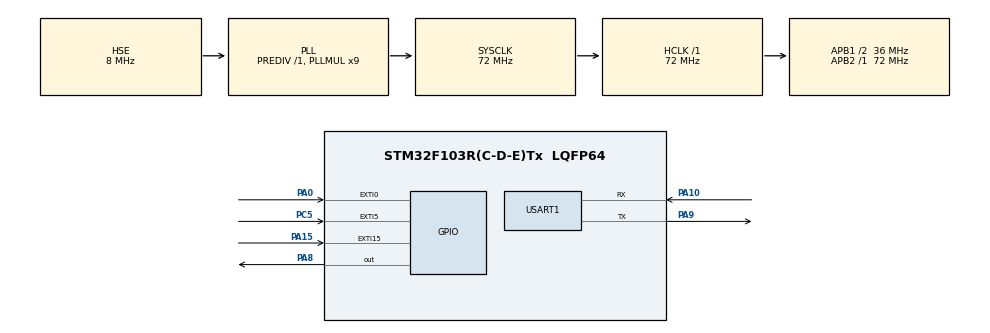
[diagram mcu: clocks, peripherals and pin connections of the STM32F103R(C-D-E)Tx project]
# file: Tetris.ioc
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Mcu.Family=STM32F1
Mcu.Name=STM32F103R(C-D-E)Tx
Mcu.Package=LQFP64
NVIC.EXTI0_IRQn=true\:0\:0\:false\:false\:true\:true\:true
NVIC.EXTI15_10_IRQn=true\:0\:0\:false\:false\:true\:true\:true
NVIC.EXTI9_5_IRQn=true\:0\:0\:false\:false\:true\:true\:true
NVIC.PriorityGroup=NVIC_PRIORITYGROUP_4
NVIC.TIM3_IRQn=true\:0\:0\:false\:false\:true\:true\:true
NVIC.USART1_IRQn=true\:0\:0\:false\:false\:true\:true\:true
PA0-WKUP.GPIO_PuPd=GPIO_PULLDOWN
PA0-WKUP.Signal=GPXTI0
PA10.Mode=Asynchronous
PA10.Signal=USART1_RX
PA13.Mode=Serial_Wire
PA13.Signal=SYS_JTMS-SWDIO
PA14.Mode=Serial_Wire
PA14.Signal=SYS_JTCK-SWCLK
PA15.GPIO_PuPd=GPIO_PULLUP
PA15.Signal=GPXTI15
PA8.Signal=GPIO_Output
PA9.Mode=Asynchronous
PA9.Signal=USART1_TX
PC5.GPIO_PuPd=GPIO_PULLUP
PC5.Signal=GPXTI5
PD0-OSC_IN.Mode=HSE-External-Oscillator
PD0-OSC_IN.Signal=RCC_OSC_IN
PD1-OSC_OUT.Mode=HSE-External-Oscillator
PD1-OSC_OUT.Signal=RCC_OSC_OUT
ProjectManager.HeapSize=0x200
ProjectManager.StackSize=0x400
ProjectManager.TargetToolchain=STM32CubeIDE
RCC.AHBFreq_Value=72000000
RCC.APB1CLKDivider=RCC_HCLK_DIV2
RCC.APB1Freq_Value=36000000
RCC.APB1TimFreq_Value=72000000
RCC.APB2Freq_Value=72000000
RCC.APB2TimFreq_Value=72000000
RCC.HCLKFreq_Value=72000000
RCC.PLLMUL=RCC_PLL_MUL9
RCC.PLLSourceVirtual=RCC_PLLSOURCE_HSE
RCC.SYSCLKFreq_VALUE=72000000
RCC.SYSCLKSource=RCC_SYSCLKSOURCE_PLLCLK
RCC.USBFreq_Value=72000000
TIM3.Period=999
TIM3.Prescaler=71
USART1.VirtualMode=VM_ASYNC
VP_TIM3_VS_ClockSourceINT.Mode=Internal
board=custom

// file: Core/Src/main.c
/* USER CODE BEGIN Header */
/**
  ******************************************************************************
  * @file           : main.c
  * @brief          : Main program body
  ******************************************************************************
  * @attention
  *
  * <h2><center>&copy; Copyright (c) 2019 STMicroelectronics.
  * All rights reserved.</center></h2>
  *
  * This software component is licensed by ST under BSD 3-Clause license,
  * the "License"; You may not use this file except in compliance with the
  * License. You may obtain a copy of the License at:
  *                        opensource.org/licenses/BSD-3-Clause
  *
  ******************************************************************************
  */
/* USER CODE END Header */

#include "main.h"
#include "tim.h"
#include "usart.h"
#include "gpio.h"

/* USER CODE BEGIN Includes */
#include "sys.h"
#include "usart.h"
#include "lcd.h"
#include "button.h"
#include "game.h"
#include "grid.h"
#include "tetromino.h"
#include "scene.h"
#include <stdio.h>
#include <string.h>
#include "stm32f1xx_it.h"
/* USER CODE END Includes */

void SystemClock_Config(void);

int main(void)
{

  /* MCU Configuration--------------------------------------------------------*/

  /* Reset of all peripherals, Initializes the Flash interface and the Systick. */
  HAL_Init();

  /* Configure the system clock */
  SystemClock_Config();

  /* Initialize all configured peripherals */
  MX_GPIO_Init();
  MX_USART1_UART_Init();
  MX_TIM3_Init();
  /* USER CODE BEGIN 2 */
  // init
  HAL_TIM_Base_Start_IT(&htim3);
  button_init();
  LCD_Init();
  game_reset();
  sw_game_scene();

  uint32_t button_task_stamp = millis();
  /* USER CODE END 2 */

  /* Infinite loop */
  while (1)
  {

    /* USER CODE BEGIN 3 */
    if (millis() - button_task_stamp >= button_scan_interval)
    {
      button_task_stamp += button_scan_interval;
      button_task();
    }
    if (scene_task)
    {
      scene_task();
    }
  }
  /* USER CODE END 3 */
}

void SystemClock_Config(void)
{
  RCC_OscInitTypeDef RCC_OscInitStruct = {0};
  RCC_ClkInitTypeDef RCC_ClkInitStruct = {0};

  /** Initializes the CPU, AHB and APB busses clocks
  */
  RCC_OscInitStruct.OscillatorType = RCC_OSCILLATORTYPE_HSE;
  RCC_OscInitStruct.HSEState = RCC_HSE_ON;
  RCC_OscInitStruct.HSEPredivValue = RCC_HSE_PREDIV_DIV1;
  RCC_OscInitStruct.HSIState = RCC_HSI_ON;
  RCC_OscInitStruct.PLL.PLLState = RCC_PLL_ON;
  RCC_OscInitStruct.PLL.PLLSource = RCC_PLLSOURCE_HSE;
  RCC_OscInitStruct.PLL.PLLMUL = RCC_PLL_MUL9;
  if (HAL_RCC_OscConfig(&RCC_OscInitStruct) != HAL_OK)
  {
    Error_Handler();
  }
  /** Initializes the CPU, AHB and APB busses clocks
  */
  RCC_ClkInitStruct.ClockType = RCC_CLOCKTYPE_HCLK | RCC_CLOCKTYPE_SYSCLK | RCC_CLOCKTYPE_PCLK1 | RCC_CLOCKTYPE_PCLK2;
  RCC_ClkInitStruct.SYSCLKSource = RCC_SYSCLKSOURCE_PLLCLK;
  RCC_ClkInitStruct.AHBCLKDivider = RCC_SYSCLK_DIV1;
  RCC_ClkInitStruct.APB1CLKDivider = RCC_HCLK_DIV2;
  RCC_ClkInitStruct.APB2CLKDivider = RCC_HCLK_DIV1;

  if (HAL_RCC_ClockConfig(&RCC_ClkInitStruct, FLASH_LATENCY_2) != HAL_OK)
  {
    Error_Handler();
  }
}

void Error_Handler(void)
{
}

/************************ (C) COPYRIGHT STMicroelectronics *****END OF FILE****/
